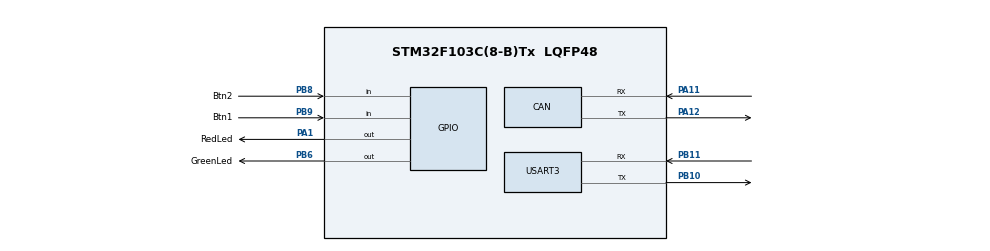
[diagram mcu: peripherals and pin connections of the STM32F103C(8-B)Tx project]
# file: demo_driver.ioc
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CAN.CalculateTimeBit=6000
CAN.CalculateTimeQuantum=2000.0
FREERTOS.Tasks01=defaultTask,0,128,StartDefaultTask,Default,NULL,Dynamic,NULL,NULL;UsartRx,0,128,StartUsartRx,Default,NULL,Dynamic,NULL,NULL;HeadTask,-3,128,StartHeadTask,Default,NULL,Dynamic,NULL,NULL
Mcu.Family=STM32F1
Mcu.Name=STM32F103C(8-B)Tx
Mcu.Package=LQFP48
NVIC.PriorityGroup=NVIC_PRIORITYGROUP_4
NVIC.TIM2_IRQn=true\:0\:0\:false\:false\:true\:false\:false\:true
NVIC.TimeBase=TIM2_IRQn
NVIC.TimeBaseIP=TIM2
NVIC.USART3_IRQn=true\:5\:0\:false\:false\:true\:true\:true\:true
PA1.GPIO_Label=RedLed
PA1.PinState=GPIO_PIN_RESET
PA1.Signal=GPIO_Output
PA11.Mode=Master
PA11.Signal=CAN_RX
PA12.Mode=Master
PA12.Signal=CAN_TX
PA13.Mode=Serial_Wire
PA13.Signal=SYS_JTMS-SWDIO
PA14.Mode=Serial_Wire
PA14.Signal=SYS_JTCK-SWCLK
PB10.Mode=Asynchronous
PB10.Signal=USART3_TX
PB11.Mode=Asynchronous
PB11.Signal=USART3_RX
PB6.GPIO_Label=GreenLed
PB6.Signal=GPIO_Output
PB8.GPIO_Label=Btn2
PB8.Signal=GPIO_Input
PB9.GPIO_Label=Btn1
PB9.Signal=GPIO_Input
ProjectManager.HeapSize=0x200
ProjectManager.StackSize=0x400
ProjectManager.TargetToolchain=EWARM V8.32
RCC.APB1Freq_Value=8000000
RCC.APB2Freq_Value=8000000
USART3.VirtualMode=VM_ASYNC
VP_FREERTOS_VS_CMSIS_V1.Mode=CMSIS_V1
VP_SYS_VS_tim2.Mode=TIM2
board=custom

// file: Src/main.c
/* USER CODE BEGIN Header */
/**
  ******************************************************************************
  * @file           : main.c
  * @brief          : Main program body
  ******************************************************************************
  * @attention
  *
  * <h2><center>&copy; Copyright (c) 2020 STMicroelectronics.
  * All rights reserved.</center></h2>
  *
  * This software component is licensed by ST under Ultimate Liberty license
  * SLA0044, the "License"; You may not use this file except in compliance with
  * the License. You may obtain a copy of the License at:
  *                             www.st.com/SLA0044
  *
  ******************************************************************************
  */
/* USER CODE END Header */

#include "main.h"
#include "cmsis_os.h"

/* USER CODE BEGIN Includes */
#include "protocol.h"
/* USER CODE END Includes */

CAN_HandleTypeDef hcan;

UART_HandleTypeDef huart3;

osThreadId defaultTaskHandle;
osThreadId UsartRxHandle;
osThreadId HeadTaskHandle;
/* USER CODE BEGIN PV */
//static CanRxMsgTypedef MyCanMsg;

#ifdef TEST_MODE
static uint8_t test_pkt[] = {0x01, 0x02, 0x03, 0x04, 0x05, 0x06, 0x07, 0x08};
#endif

static uint8_t rx_buff[32];
static uint8_t tx_buff[32];

static protocol_handler_t protocol_handler;
static protocol_descriptor_t protocol_descriptor;
/* USER CODE END PV */

void SystemClock_Config(void);
static void MX_GPIO_Init(void);
static void MX_CAN_Init(void);
static void MX_USART3_UART_Init(void);
void StartDefaultTask(void const * argument);
void StartUsartRx(void const * argument);
void StartHeadTask(void const * argument);

/* USER CODE BEGIN 0 */
static uint8_t phy_transmit(uint8_t byte)
{
  uint8_t status = 1;

  if (HAL_UART_Transmit(&huart3, &byte, 1, 20) != HAL_OK)
    status = 0;

  return status;
}

static void recived_msg(uint8_t* data, uint8_t size)
{

  HAL_GPIO_TogglePin(GreenLed_GPIO_Port, GreenLed_Pin);
  HAL_GPIO_WritePin(RedLed_GPIO_Port, RedLed_Pin, GPIO_PIN_RESET);

  protocol_send_message(&protocol_handler,data,size);

}
/* USER CODE END 0 */

int main(void)
{

  /* MCU Configuration--------------------------------------------------------*/

  /* Reset of all peripherals, Initializes the Flash interface and the Systick. */
  HAL_Init();

  /* Configure the system clock */
  SystemClock_Config();

  /* Initialize all configured peripherals */
  MX_GPIO_Init();
  MX_CAN_Init();
  MX_USART3_UART_Init();
  /* USER CODE BEGIN 2 */

  /*
  assert(desc->rx_buff != NULL);
  assert(desc->tx_buff != NULL);
  assert(desc->recv_message != NULL);
  assert(desc->write_byte != NULL);
  */

  protocol_descriptor.buff = rx_buff;
  protocol_descriptor.buff_size = sizeof(rx_buff);
  protocol_descriptor.recv_message = recived_msg;
  protocol_descriptor.write_byte = phy_transmit;

  protocol_init(&protocol_handler, &protocol_descriptor);

  /* USER CODE END 2 */

  /* USER CODE BEGIN RTOS_SEMAPHORES */
  /* add semaphores, ... */

  //xSemaphoreHandle TmpS;

  /* USER CODE END RTOS_SEMAPHORES */

  /* Create the thread(s) */
  /* definition and creation of defaultTask */
  osThreadDef(defaultTask, StartDefaultTask, osPriorityNormal, 0, 128);
  defaultTaskHandle = osThreadCreate(osThread(defaultTask), NULL);

  /* definition and creation of UsartRx */
  osThreadDef(UsartRx, StartUsartRx, osPriorityNormal, 0, 128);
  UsartRxHandle = osThreadCreate(osThread(UsartRx), NULL);

  /* definition and creation of HeadTask */
  osThreadDef(HeadTask, StartHeadTask, osPriorityIdle, 0, 128);
  HeadTaskHandle = osThreadCreate(osThread(HeadTask), NULL);

  /* Start scheduler */
  osKernelStart();

  /* We should never get here as control is now taken by the scheduler */
  /* Infinite loop */
  while (1)
  {

  }
}

void SystemClock_Config(void)
{
  RCC_OscInitTypeDef RCC_OscInitStruct = {0};
  RCC_ClkInitTypeDef RCC_ClkInitStruct = {0};

  /** Initializes the CPU, AHB and APB busses clocks
  */
  RCC_OscInitStruct.OscillatorType = RCC_OSCILLATORTYPE_HSI;
  RCC_OscInitStruct.HSIState = RCC_HSI_ON;
  RCC_OscInitStruct.HSICalibrationValue = RCC_HSICALIBRATION_DEFAULT;
  RCC_OscInitStruct.PLL.PLLState = RCC_PLL_NONE;
  if (HAL_RCC_OscConfig(&RCC_OscInitStruct) != HAL_OK)
  {
    Error_Handler();
  }
  /** Initializes the CPU, AHB and APB busses clocks
  */
  RCC_ClkInitStruct.ClockType = RCC_CLOCKTYPE_HCLK|RCC_CLOCKTYPE_SYSCLK
                              |RCC_CLOCKTYPE_PCLK1|RCC_CLOCKTYPE_PCLK2;
  RCC_ClkInitStruct.SYSCLKSource = RCC_SYSCLKSOURCE_HSI;
  RCC_ClkInitStruct.AHBCLKDivider = RCC_SYSCLK_DIV1;
  RCC_ClkInitStruct.APB1CLKDivider = RCC_HCLK_DIV1;
  RCC_ClkInitStruct.APB2CLKDivider = RCC_HCLK_DIV1;

  if (HAL_RCC_ClockConfig(&RCC_ClkInitStruct, FLASH_LATENCY_0) != HAL_OK)
  {
    Error_Handler();
  }
}

static void MX_CAN_Init(void)
{

  hcan.Instance = CAN1;
  hcan.Init.Prescaler = 16;
  hcan.Init.Mode = CAN_MODE_NORMAL;
  hcan.Init.SyncJumpWidth = CAN_SJW_1TQ;
  hcan.Init.TimeSeg1 = CAN_BS1_1TQ;
  hcan.Init.TimeSeg2 = CAN_BS2_1TQ;
  hcan.Init.TimeTriggeredMode = DISABLE;
  hcan.Init.AutoBusOff = DISABLE;
  hcan.Init.AutoWakeUp = DISABLE;
  hcan.Init.AutoRetransmission = DISABLE;
  hcan.Init.ReceiveFifoLocked = DISABLE;
  hcan.Init.TransmitFifoPriority = DISABLE;
  if (HAL_CAN_Init(&hcan) != HAL_OK)
  {
    Error_Handler();
  }

}

static void MX_USART3_UART_Init(void)
{

  huart3.Instance = USART3;
  huart3.Init.BaudRate = 115200;
  huart3.Init.WordLength = UART_WORDLENGTH_8B;
  huart3.Init.StopBits = UART_STOPBITS_1;
  huart3.Init.Parity = UART_PARITY_NONE;
  huart3.Init.Mode = UART_MODE_TX_RX;
  huart3.Init.HwFlowCtl = UART_HWCONTROL_NONE;
  huart3.Init.OverSampling = UART_OVERSAMPLING_16;
  if (HAL_UART_Init(&huart3) != HAL_OK)
  {
    Error_Handler();
  }

}

static void MX_GPIO_Init(void)
{
  GPIO_InitTypeDef GPIO_InitStruct = {0};

  /* GPIO Ports Clock Enable */
  __HAL_RCC_GPIOA_CLK_ENABLE();
  __HAL_RCC_GPIOB_CLK_ENABLE();

  /*Configure GPIO pin Output Level */
  HAL_GPIO_WritePin(RedLed_GPIO_Port, RedLed_Pin, GPIO_PIN_RESET);

  /*Configure GPIO pin Output Level */
  HAL_GPIO_WritePin(GreenLed_GPIO_Port, GreenLed_Pin, GPIO_PIN_RESET);

  /*Configure GPIO pin : RedLed_Pin */
  GPIO_InitStruct.Pin = RedLed_Pin;
  GPIO_InitStruct.Mode = GPIO_MODE_OUTPUT_PP;
  GPIO_InitStruct.Pull = GPIO_NOPULL;
  GPIO_InitStruct.Speed = GPIO_SPEED_FREQ_LOW;
  HAL_GPIO_Init(RedLed_GPIO_Port, &GPIO_InitStruct);

  /*Configure GPIO pin : GreenLed_Pin */
  GPIO_InitStruct.Pin = GreenLed_Pin;
  GPIO_InitStruct.Mode = GPIO_MODE_OUTPUT_PP;
  GPIO_InitStruct.Pull = GPIO_NOPULL;
  GPIO_InitStruct.Speed = GPIO_SPEED_FREQ_LOW;
  HAL_GPIO_Init(GreenLed_GPIO_Port, &GPIO_InitStruct);

  /*Configure GPIO pins : Btn2_Pin Btn1_Pin */
  GPIO_InitStruct.Pin = Btn2_Pin|Btn1_Pin;
  GPIO_InitStruct.Mode = GPIO_MODE_INPUT;
  GPIO_InitStruct.Pull = GPIO_NOPULL;
  HAL_GPIO_Init(GPIOB, &GPIO_InitStruct);

}

void StartDefaultTask(void const * argument)
{
  /* USER CODE BEGIN 5 */
  /* Infinite loop */
  for(;;)
  {

#ifdef TEST_MODE
  HAL_GPIO_WritePin(RedLed_GPIO_Port, RedLed_Pin, GPIO_PIN_SET);
  HAL_GPIO_WritePin(GreenLed_GPIO_Port, GreenLed_Pin, GPIO_PIN_RESET);

  protocol_send_message(&protocol_handler,test_pkt,sizeof(test_pkt));
#endif

    osDelay(1000);
  }
  /* USER CODE END 5 */
}

void StartUsartRx(void const * argument)
{
  /* USER CODE BEGIN StartUsartRx */
  /* Infinite loop */
  for(;;)
  {
    if(HAL_UART_Receive_IT(&huart3, tx_buff,HW_RX_BUFF_LEN) == HAL_OK){

#ifdef USE_CAN
      if (protocol_read(&protocol_handler, tx_buff, HW_RX_BUFF_LEN) != PROTOCOL_NO_ERR) {

        //ERR
        HAL_GPIO_WritePin(GreenLed_GPIO_Port, GreenLed_Pin, GPIO_PIN_RESET);
        HAL_GPIO_WritePin(RedLed_GPIO_Port, RedLed_Pin, GPIO_PIN_SET);

      }

#else
      if (protocol_read_byte(&protocol_handler, tx_buff[0]) != PROTOCOL_NO_ERR) {

        //ERR
        HAL_GPIO_WritePin(GreenLed_GPIO_Port, GreenLed_Pin, GPIO_PIN_RESET);
        HAL_GPIO_WritePin(RedLed_GPIO_Port, RedLed_Pin, GPIO_PIN_SET);

      }
#endif
    }
  }
  /* USER CODE END StartUsartRx */
}

void StartHeadTask(void const * argument)
{
  /* USER CODE BEGIN StartHeadTask */
  /* Infinite loop */
  for(;;)
  {
    //BS_Process();
  }
  /* USER CODE END StartHeadTask */
}

 /**
  * @brief  Period elapsed callback in non blocking mode
  * @note   This function is called  when TIM2 interrupt took place, inside
  * HAL_TIM_IRQHandler(). It makes a direct call to HAL_IncTick() to increment
  * a global variable "uwTick" used as application time base.
  * @param  htim : TIM handle
  * @retval None
  */
void HAL_TIM_PeriodElapsedCallback(TIM_HandleTypeDef *htim)
{
  if (htim->Instance == TIM2) {
    HAL_IncTick();
  }
}

void Error_Handler(void)
{
}

/************************ (C) COPYRIGHT STMicroelectronics *****END OF FILE****/
